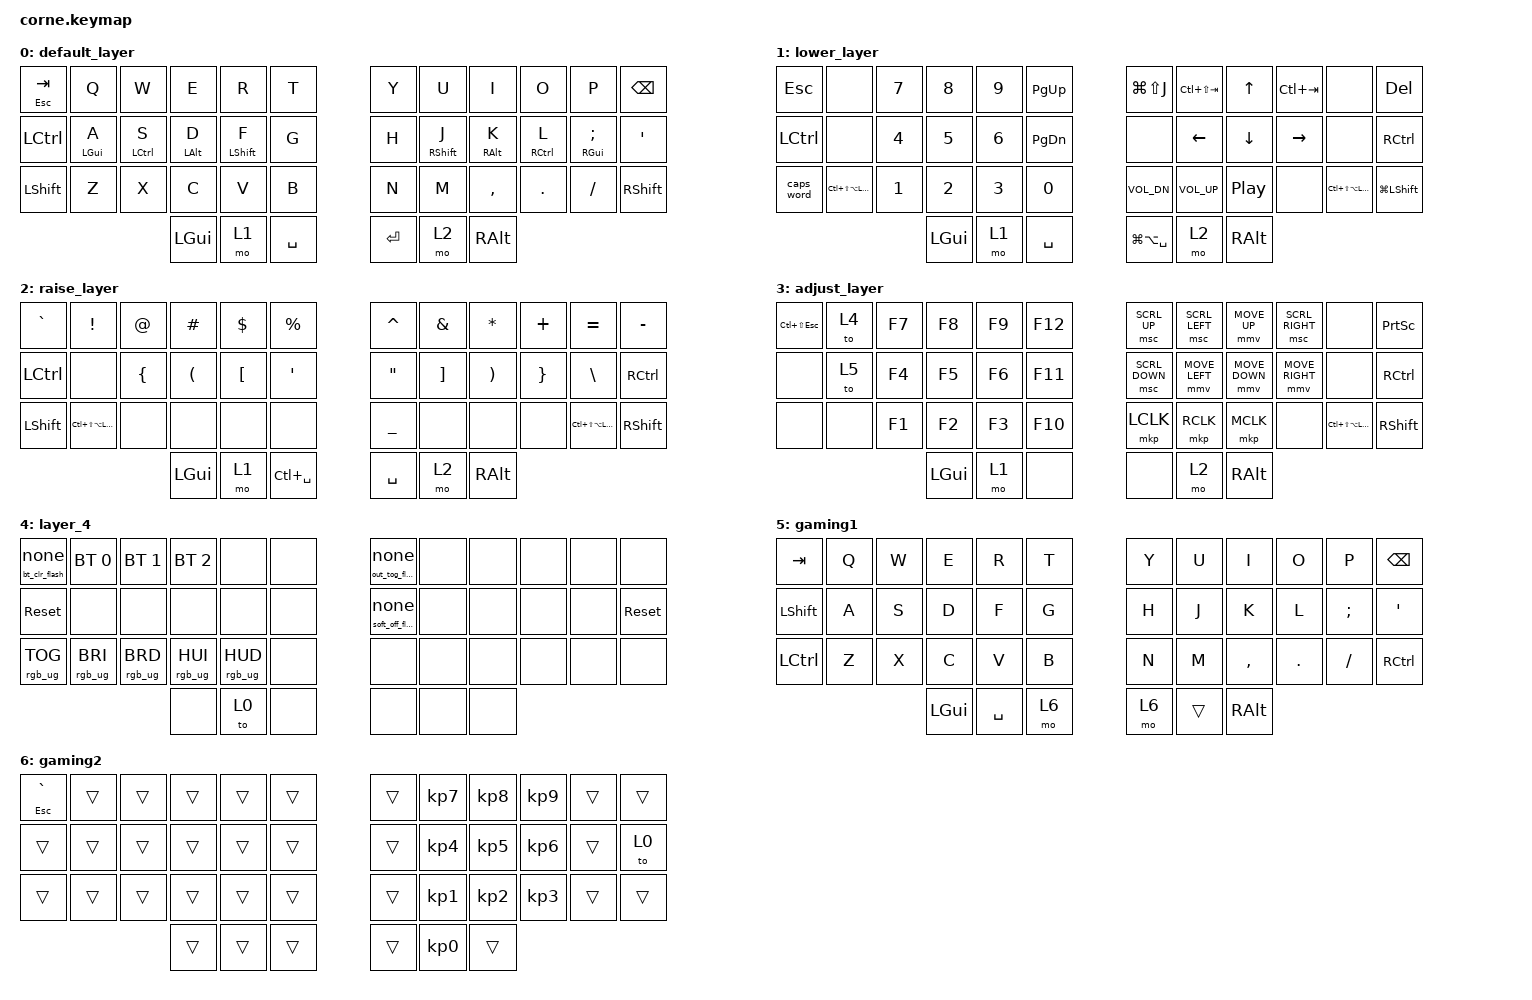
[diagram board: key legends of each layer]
#include <behaviors.dtsi>
#include <dt-bindings/zmk/bt.h>
#include <dt-bindings/zmk/keys.h>
#include <dt-bindings/zmk/outputs.h>
#include <dt-bindings/zmk/pointing.h>
#include <dt-bindings/zmk/rgb.h>

/ {
    macros {
        out_tog_flash: out_tog_flash {
            compatible = "zmk,behavior-macro";
            #binding-cells = <0>;
            bindings = <&out 0>;
        };

        bt_clr_flash: bt_clr_flash {
            compatible = "zmk,behavior-macro";
            #binding-cells = <0>;
            bindings = <&bt BT_CLR>;
        };

        soft_off_flash: soft_off_flash {
            compatible = "zmk,behavior-macro";
            #binding-cells = <0>;
            bindings = <&soft_off>;
        };
    };

    behaviors {
        hml: home_row_mod_left {
            compatible = "zmk,behavior-hold-tap";
            #binding-cells = <2>;
            flavor = "tap-preferred";
            tapping-term-ms = <280>;
            quick-tap-ms = <175>;
            require-prior-idle-ms = <150>;
            hold-trigger-on-release;
            bindings = <&kp &kp>;

            /* Dodano 13 14 15 16, aby modyfikatory lewej ręki mogły się łączyć ze sobą */

            hold-trigger-key-positions = <6 7 8 9 10 11 13 14 15 16 18 19 20 21 22 23 30 31 32 33 34 35>;
        };

        hmr: home_row_mod_right {
            compatible = "zmk,behavior-hold-tap";
            #binding-cells = <2>;
            flavor = "tap-preferred";
            tapping-term-ms = <280>;
            quick-tap-ms = <175>;
            require-prior-idle-ms = <150>;
            retro-tap;
            hold-trigger-on-release;
            bindings = <&kp &kp>;

            /* Dodano 19 20 21 22, aby modyfikatory prawej ręki mogły się łączyć ze sobą */

            hold-trigger-key-positions = <0 1 2 3 4 5 12 13 14 15 16 17 19 20 21 22 24 25 26 27 28 29>;
        };

        out_tog_3s: out_tog_3s {
            compatible = "zmk,behavior-hold-tap";
            #binding-cells = <2>;
            flavor = "tap-preferred";
            tapping-term-ms = <3000>;
            bindings = <&out_tog_flash &none>;
        };

        bt_clr_3s: bt_clr_3s {
            compatible = "zmk,behavior-hold-tap";
            #binding-cells = <2>;
            flavor = "tap-preferred";
            tapping-term-ms = <3000>;
            bindings = <&bt_clr_flash &none>;
        };

        soft_off_3s: soft_off_3s {
            compatible = "zmk,behavior-hold-tap";
            #binding-cells = <2>;
            flavor = "tap-preferred";
            tapping-term-ms = <3000>;
            bindings = <&soft_off_flash &none>;
        };
    };

    combos { compatible = "zmk,combos"; };

    keymap {
        compatible = "zmk,keymap";

        default_layer {
            bindings = <
&mt ESC TAB  &kp Q        &kp W         &kp E        &kp R         &kp T        &kp Y      &kp U         &kp I        &kp O         &kp P           &kp BSPC
&kp LCTRL    &hml LGUI A  &hml LCTRL S  &hml LALT D  &hml LSHFT F  &kp G        &kp H      &hmr RSHFT J  &hmr RALT K  &hmr RCTRL L  &hmr RGUI SEMI  &kp SQT
&kp LSHFT    &kp Z        &kp X         &kp C        &kp V         &kp B        &kp N      &kp M         &kp COMMA    &kp DOT       &kp FSLH        &kp RSHFT
                                        &kp LGUI     &mo 1         &kp SPACE    &kp ENTER  &mo 2         &kp RALT
            >;
        };

        lower_layer {
            bindings = <
&kp ESC     &none                 &kp N7  &kp N8    &kp N9  &kp PG_UP    &kp LG(LS(J))      &kp LC(LS(TAB))  &kp UP_ARROW      &kp LC(TAB)  &none                 &kp DEL
&kp LCTRL   &none                 &kp N4  &kp N5    &kp N6  &kp PG_DN    &none              &kp LEFT         &kp DOWN_ARROW    &kp RIGHT    &none                 &kp RCTRL
&caps_word  &kp LC(LS(LA(LGUI)))  &kp N1  &kp N2    &kp N3  &kp N0       &kp C_VOL_DN       &kp C_VOL_UP     &kp C_PLAY_PAUSE  &none        &kp LC(LS(LA(LGUI)))  &kp LG(LSHFT)
                                          &kp LGUI  &mo 1   &kp SPACE    &kp LG(LA(SPACE))  &mo 2            &kp RALT
            >;
        };

        raise_layer {
            bindings = <
&kp GRAVE  &kp EXCL              &kp AT    &kp HASH  &kp DLLR  &kp PRCNT        &kp CARET  &kp AMPS  &kp STAR  &kp PLUS  &kp EQUAL             &kp MINUS
&kp LCTRL  &none                 &kp LBRC  &kp LPAR  &kp LBKT  &kp SQT          &kp DQT    &kp RBKT  &kp RPAR  &kp RBRC  &kp BSLH              &kp RCTRL
&kp LSHFT  &kp LC(LS(LA(LGUI)))  &none     &none     &none     &none            &kp UNDER  &none     &none     &none     &kp LC(LS(LA(LGUI)))  &kp RSHFT
                                           &kp LGUI  &mo 1     &kp LC(SPACE)    &kp SPACE  &mo 2     &kp RALT
            >;
        };

        adjust_layer {
            bindings = <
&kp LC(LS(ESC))  &to 4  &kp F7  &kp F8    &kp F9  &kp F12    &msc SCRL_UP    &msc SCRL_LEFT  &mmv MOVE_UP    &msc SCRL_RIGHT  &none                 &kp PSCRN
&none            &to 5  &kp F4  &kp F5    &kp F6  &kp F11    &msc SCRL_DOWN  &mmv MOVE_LEFT  &mmv MOVE_DOWN  &mmv MOVE_RIGHT  &none                 &kp RCTRL
&none            &none  &kp F1  &kp F2    &kp F3  &kp F10    &mkp LCLK       &mkp RCLK       &mkp MCLK       &none            &kp LC(LS(LA(LGUI)))  &kp RSHFT
                                &kp LGUI  &mo 1   &none      &none           &mo 2           &kp RALT
            >;
        };

        layer_4 {
            bindings = <
&bt_clr_3s 0 0   &bt BT_SEL 0     &bt BT_SEL 1     &bt BT_SEL 2     &none            &none    &out_tog_3s 0 0   &none  &none  &none  &none  &none
&sys_reset       &none            &none            &none            &none            &none    &soft_off_3s 0 0  &none  &none  &none  &none  &sys_reset
&rgb_ug RGB_TOG  &rgb_ug RGB_BRI  &rgb_ug RGB_BRD  &rgb_ug RGB_HUI  &rgb_ug RGB_HUD  &none    &none             &none  &none  &none  &none  &none
                                                   &none            &to 0            &none    &none             &none  &none
            >;
        };

        gaming1 {
            bindings = <
&kp TAB    &kp Q  &kp W  &kp E     &kp R      &kp T    &kp Y  &kp U   &kp I      &kp O    &kp P     &kp BSPC
&kp LSHFT  &kp A  &kp S  &kp D     &kp F      &kp G    &kp H  &kp J   &kp K      &kp L    &kp SEMI  &kp APOS
&kp LCTRL  &kp Z  &kp X  &kp C     &kp V      &kp B    &kp N  &kp M   &kp COMMA  &kp DOT  &kp FSLH  &kp RCTRL
                         &kp LGUI  &kp SPACE  &mo 6    &mo 6  &trans  &kp RALT
            >;
        };

        gaming2 {
            bindings = <
&mt ESCAPE GRAVE  &trans  &trans  &trans  &trans  &trans    &trans  &kp KP_NUMBER_7  &kp KP_NUMBER_8  &kp KP_NUMBER_9  &trans  &trans
&trans            &trans  &trans  &trans  &trans  &trans    &trans  &kp KP_NUMBER_4  &kp KP_NUMBER_5  &kp KP_NUMBER_6  &trans  &to 0
&trans            &trans  &trans  &trans  &trans  &trans    &trans  &kp KP_NUMBER_1  &kp KP_NUMBER_2  &kp KP_NUMBER_3  &trans  &trans
                                  &trans  &trans  &trans    &trans  &kp KP_NUMBER_0  &trans
            >;
        };
    };

    conditional_layers {
        compatible = "zmk,conditional-layers";

        adjust_condition {
            if-layers = <1 2>;
            then-layer = <3>;
        };
    };
};

&mmv { time-to-max-speed-ms = <500>; };

&msc { time-to-max-speed-ms = <300>; };
